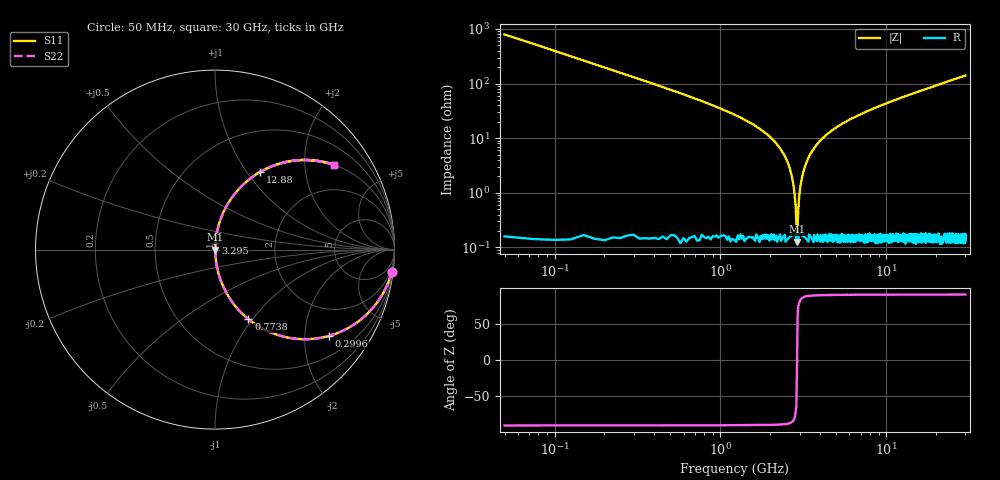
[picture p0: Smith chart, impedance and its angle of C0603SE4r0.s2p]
!	AVX Thin Film Operation 	Date: April 2014
!	Description: Accu-P® Series, Thin Film  SMD RF Capacitor
!	Part Number: 06031J4R0ABSTR
# MHZ S MA R 50
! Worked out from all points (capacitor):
!   1201 points, 50 MHz to 30 GHz, reference 50 ohm
!   read as one part in series: C = 4 pF near 199.8 MHz
!   lowest |Z| = 127 mohm at 2.895 GHz (marker M1)
!   series resonance near 2.898 GHz, so ESL is about 750 pH
!   S11 on the Smith chart (normalised r, x): 50 MHz: 1, -16; 299.6 MHz: 1.00, -2.63; 773.8 MHz: 1.00, -0.95; 3.295 GHz: 1.00, +0.07; 12.88 GHz: 1.00, +1.16; 30 GHz: 1.00, +2.82
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50  0.992 -7.2  0.125 82.8  0.125 82.8  0.992 -7.2
299.583  0.795 -37.2  0.605 52.7  0.605 52.7  0.795 -37.2
524.208  0.591 -53.6  0.805 36.2  0.805 36.2  0.591 -53.6
773.792  0.43 -64.3  0.901 25.5  0.901 25.5  0.43 -64.3
1322.875  0.231 -76.3  0.971 13.4  0.971 13.4  0.231 -76.3
2321.208  0.061 -85.1  0.997 3.5  0.997 3.5  0.061 -85.1
2595.75  0.03 -85.5  0.998 1.7  0.998 1.7  0.03 -85.5
2695.583  0.02 -84.6  0.998 1.1  0.998 1.1  0.02 -84.6
2795.417  0.009973 -80.9  0.998 0.6  0.998 0.6  0.009973 -80.9
2895.25  0.001507 -9.1  0.999 0.0  0.999 0.0  0.001507 -9.1
2995.083  0.009181 80.2  0.998 -0.5  0.998 -0.5  0.009181 80.2
3144.833  0.023 84.9  0.998 -1.3  0.998 -1.3  0.023 84.9
3294.583  0.035 85.6  0.998 -2.0  0.998 -2.0  0.035 85.6
3893.583  0.082 84.3  0.995 -4.7  0.995 -4.7  0.082 84.3
5041.667  0.158 80.4  0.986 -9.1  0.986 -9.1  0.158 80.4
7013.375  0.265 74.3  0.963 -15.4  0.963 -15.4  0.265 74.3
10058.29  0.4 66.2  0.915 -23.6  0.915 -23.6  0.4 66.2
12878.58  0.501 59.8  0.864 -30.0  0.864 -30.0  0.501 59.8
15025  0.565 55.5  0.824 -34.4  0.824 -34.4  0.565 55.5
20016.67  0.68 47.1  0.732 -42.8  0.732 -42.8  0.68 47.1
25033.29  0.76 40.5  0.649 -49.4  0.649 -49.4  0.76 40.5
30000  0.815 35.4  0.579 -54.6  0.579 -54.6  0.815 35.4
